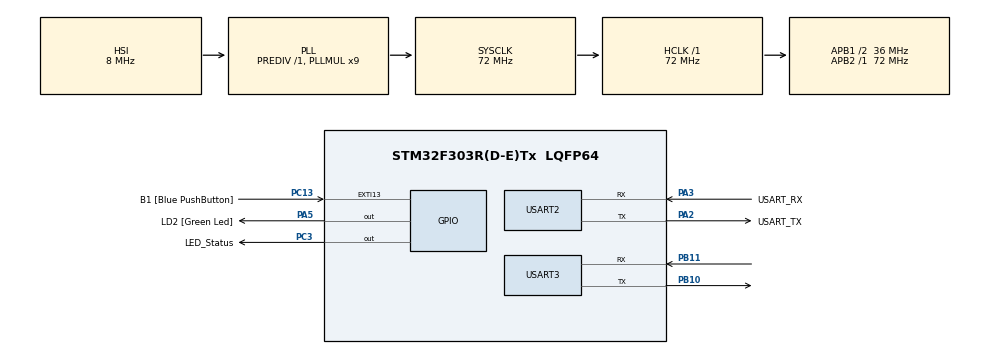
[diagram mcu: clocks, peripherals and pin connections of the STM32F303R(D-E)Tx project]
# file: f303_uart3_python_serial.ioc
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Mcu.Family=STM32F3
PC15-OSC32_OUT.Mode=LSE-External-Oscillator
PA2.GPIO_PuPd=GPIO_NOPULL
RCC.CortexFreq_Value=72000000
PB10.Mode=Asynchronous
PC13.Signal=GPXTI13
PA14.GPIO_Label=TCK
RCC.SYSCLKSourceVirtual=RCC_SYSCLKSOURCE_PLLCLK
PA3.GPIO_PuPd=GPIO_NOPULL
PA2.GPIO_Speed=GPIO_SPEED_FREQ_LOW
PC13.GPIO_Label=B1 [Blue PushButton]
RCC.APB1CLKDivider=RCC_HCLK_DIV2
PC14-OSC32_IN.Signal=RCC_OSC32_IN
PB11.Signal=USART3_RX
PA3.GPIO_Speed=GPIO_SPEED_FREQ_LOW
ProjectManager.StackSize=0x400
USART3.VirtualMode-Asynchronous=VM_ASYNC
PA13.Signal=SYS_JTMS-SWDIO
PA3.Mode=Asynchronous
PB11.Mode=Asynchronous
ProjectManager.TargetToolchain=STM32CubeIDE
PA3.GPIO_Mode=GPIO_MODE_AF_PP
RCC.HCLKFreq_Value=72000000
RCC.APB2TimFreq_Value=72000000
PC3.Signal=GPIO_Output
RCC.USBFreq_Value=72000000
PC15-OSC32_OUT.Signal=RCC_OSC32_OUT
RCC.AHBFreq_Value=72000000
PF0-OSC_IN.Mode=HSE-External-Clock-Source
PB10.Signal=USART3_TX
PA5.Signal=GPIO_Output
RCC.HSE_VALUE=8000000
board=NUCLEO-F303RE
USART2.VirtualMode-Asynchronous=VM_ASYNC
RCC.RCC_PLLsource_Clock_Source_FROM_HSE=RCC_HSE_PREDIV_DIV2
RCC.PLLMUL=RCC_PLL_MUL9
RCC.APB2Freq_Value=72000000
PC14-OSC32_IN.Mode=LSE-External-Oscillator
PA14.Mode=Serial_Wire
PA5.GPIO_PuPd=GPIO_NOPULL
PA13.Mode=Serial_Wire
Mcu.Name=STM32F303R(D-E)Tx
PA2.Signal=USART2_TX
PA13.GPIO_Label=TMS
PB3.Signal=SYS_JTDO-TRACESWO
RCC.SYSCLKFreq_VALUE=72000000
Mcu.Package=LQFP64
PA5.GPIO_Label=LD2 [Green Led]
PC13.GPIO_ModeDefaultEXTI=GPIO_MODE_IT_FALLING
PA2.GPIO_Label=USART_TX
PA14.Signal=SYS_JTCK-SWCLK
ProjectManager.HeapSize=0x200
RCC.HSI_VALUE=8000000
RCC.PLLP=RCC_PLLP_DIV4
PA5.GPIO_Speed=GPIO_SPEED_FREQ_LOW
RCC.PLLQ=7
NVIC.PriorityGroup=NVIC_PRIORITYGROUP_0
RCC.PLLM=8
RCC.PLLN=336
RCC.APB1TimFreq_Value=72000000
PA2.Mode=Asynchronous
PC3.GPIO_Label=LED_Status
PF0-OSC_IN.Signal=RCC_OSC_IN
RCC.APB1Freq_Value=36000000
PA5.GPIO_Mode=GPIO_MODE_OUTPUT_PP
PF1-OSC_OUT.Signal=RCC_OSC_OUT
PA3.GPIO_Label=USART_RX
PA3.Signal=USART2_RX
PA2.GPIO_Mode=GPIO_MODE_AF_PP
PB3.GPIO_Label=SWO

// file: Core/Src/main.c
/* USER CODE BEGIN Header */
/**
  ******************************************************************************
  * @file           : main.c
  * @brief          : Main program body
  ******************************************************************************
  * @attention
  *
  * <h2><center>&copy; Copyright (c) 2021 STMicroelectronics.
  * All rights reserved.</center></h2>
  *
  * This software component is licensed by ST under BSD 3-Clause license,
  * the "License"; You may not use this file except in compliance with the
  * License. You may obtain a copy of the License at:
  *                        opensource.org/licenses/BSD-3-Clause
  *
  ******************************************************************************
  */
/* USER CODE END Header */
#include "main.h"

/* USER CODE BEGIN Includes */
#include <stdio.h>
#include <stdlib.h>
#include <string.h>
/* USER CODE END Includes */

/* USER CODE BEGIN PM */
//#define 	DEBUG_MODE
/* USER CODE END PM */

UART_HandleTypeDef huart2;
UART_HandleTypeDef huart3;

static uint32_t data_raw_pressure;
static int16_t data_raw_temperature;

void SystemClock_Config(void);
static void MX_GPIO_Init(void);
static void MX_USART2_UART_Init(void);
static void MX_USART3_UART_Init(void);
/* USER CODE BEGIN PFP */
void get_pressure(float *pressure);
void get_temperature(float *temperature);
/* USER CODE END PFP */

/* USER CODE BEGIN 0 */

// Transmission buffer
static uint8_t msg[1000];

/* USER CODE END 0 */

int main(void)
{

  /* MCU Configuration--------------------------------------------------------*/

  /* Reset of all peripherals, Initializes the Flash interface and the Systick. */
  HAL_Init();

  /* Configure the system clock */
  SystemClock_Config();

  /* Initialize all configured peripherals */
  MX_GPIO_Init();
  MX_USART2_UART_Init();
  MX_USART3_UART_Init();

  /* Infinite loop */
  /* USER CODE BEGIN WHILE */
  float altitudes[100];
  uint32_t counter = 0;
  while (1)
  {
    /* USER CODE END WHILE */

    /* USER CODE BEGIN 3 */
	  HAL_GPIO_TogglePin(LED_Status_GPIO_Port, LED_Status_Pin);
	  if (counter == sizeof(altitudes) - 1)
	  		  counter = 0;
	  float pressure, temperature;
	  get_pressure(&pressure);
	  get_temperature(&temperature);
//	  altitudes[counter++] = pressure;

	  // debug
	  sprintf((char *)msg, "pressure = %lu\ttemperature = %d\n", (uint32_t) pressure, (int16_t) temperature);
	  HAL_UART_Transmit(&huart2, msg, strlen((char const *)msg), 5000);

	  HAL_Delay(1000);

  }
  /* USER CODE END 3 */
}

void get_pressure(float *pressure) {
	// first need to transmit a '0\n'
	// so that the script knows to send altitude value
	uint8_t startMessage[] = "0\n";

	#ifdef DEBUG_MODE
	  sprintf((char *)msg, "---------- ENTERED get_pressure ----------\nstartMessage = \n");
	  HAL_UART_Transmit(&huart3, msg, strlen((char const *)msg), 100);
	#endif

	uint32_t timeout = 1000;
	HAL_UART_Transmit(&huart3, startMessage, sizeof(startMessage), timeout);

	// now receive input from script
	uint16_t max_loop_count = 10;
	uint16_t loop_count = 0;

	uint8_t rxBuf[10]; // buffer of 10 chars
	uint8_t rxCurrent; // current receive char
	uint8_t rxIndex = 0;

	int done = 0;
	while (loop_count < max_loop_count && !done) {
		HAL_UART_Receive(&huart3, (uint8_t*) &rxCurrent, 1, timeout);
		if (rxCurrent != '\n' && rxIndex < sizeof(rxBuf)) {
			rxBuf[rxIndex++] = rxCurrent;
		} else {
			// convert to uint32_t as data_raw_pressure
			data_raw_pressure = (uint32_t) (atoi((char *) rxBuf));
			*pressure = (float) data_raw_pressure;
			memset(rxBuf, 0, sizeof(rxBuf));
			done = 1;
		}
		__HAL_UART_CLEAR_FLAG(&huart3, UART_CLEAR_OREF | UART_CLEAR_NEF | UART_CLEAR_PEF | UART_CLEAR_FEF);
		loop_count++;
	}
#ifdef DEBUG_MODE
	sprintf((char *)msg, "in pressure = %lu\n", (uint32_t) data_raw_pressure);
	HAL_UART_Transmit(&huart2, msg, strlen((char const *)msg), 5000);
#endif
}

/*
 * This function is almost identical to get_pressure but it is implemented
 * separately to emulate FC V2 code as closely as possible.
 *
 * The only changes are to the start message (use 1 instead of 0) and the
 * variable that the result gets stored to.
 */
void get_temperature(float *temperature) {
	// first need to transmit a '1\n'
	// so that the script knows to send a temperature value
	uint8_t startMessage[] = "1\n";

	#ifdef DEBUG_MODE
	  sprintf((char *)msg, "---------- ENTERED get_temperature ----------\nstartMessage = \n");
	  HAL_UART_Transmit(&huart3, msg, strlen((char const *)msg), 100);
	#endif

	uint32_t timeout = 1000;
	HAL_UART_Transmit(&huart3, startMessage, sizeof(startMessage), timeout);

	// now receive input from script
	uint16_t max_loop_count = 10;
	uint16_t loop_count = 0;

	uint8_t rxBuf[10]; // buffer of 10 chars
	uint8_t rxCurrent; // current receive char
	uint8_t rxIndex = 0;

	int done = 0;
	while (loop_count < max_loop_count && !done) {
		HAL_UART_Receive(&huart3, (uint8_t*) &rxCurrent, 1, timeout);
		if (rxCurrent != '\n' && rxIndex < sizeof(rxBuf)) {
			rxBuf[rxIndex++] = rxCurrent;
		} else {
			// convert to uint32_t as data_raw_pressure
			data_raw_temperature = (int16_t) (atoi((char *) rxBuf));
			//*temperature = lps22hh_from_lsb_to_celsius(data_raw_temperature);
//			*temperature = (float) (data_raw_temperature / 100.0f);
			*temperature = (float) data_raw_temperature;
			memset(rxBuf, 0, sizeof(rxBuf));
			done = 1;
		}
		__HAL_UART_CLEAR_FLAG(&huart3, UART_CLEAR_OREF | UART_CLEAR_NEF | UART_CLEAR_PEF | UART_CLEAR_FEF);
		loop_count++;
	}
#ifdef DEBUG_MODE
	sprintf((char *)msg, "in temperature = %d\n", (int16_t) data_raw_pressure);
	HAL_UART_Transmit(&huart2, msg, strlen((char const *)msg), 5000);
#endif
}

void SystemClock_Config(void)
{
  RCC_OscInitTypeDef RCC_OscInitStruct = {0};
  RCC_ClkInitTypeDef RCC_ClkInitStruct = {0};
  RCC_PeriphCLKInitTypeDef PeriphClkInit = {0};

  /** Initializes the RCC Oscillators according to the specified parameters
  * in the RCC_OscInitTypeDef structure.
  */
  RCC_OscInitStruct.OscillatorType = RCC_OSCILLATORTYPE_HSI;
  RCC_OscInitStruct.HSIState = RCC_HSI_ON;
  RCC_OscInitStruct.HSICalibrationValue = RCC_HSICALIBRATION_DEFAULT;
  RCC_OscInitStruct.PLL.PLLState = RCC_PLL_ON;
  RCC_OscInitStruct.PLL.PLLSource = RCC_PLLSOURCE_HSI;
  RCC_OscInitStruct.PLL.PLLMUL = RCC_PLL_MUL9;
  RCC_OscInitStruct.PLL.PREDIV = RCC_PREDIV_DIV1;
  if (HAL_RCC_OscConfig(&RCC_OscInitStruct) != HAL_OK)
  {
    Error_Handler();
  }
  /** Initializes the CPU, AHB and APB buses clocks
  */
  RCC_ClkInitStruct.ClockType = RCC_CLOCKTYPE_HCLK|RCC_CLOCKTYPE_SYSCLK
                              |RCC_CLOCKTYPE_PCLK1|RCC_CLOCKTYPE_PCLK2;
  RCC_ClkInitStruct.SYSCLKSource = RCC_SYSCLKSOURCE_PLLCLK;
  RCC_ClkInitStruct.AHBCLKDivider = RCC_SYSCLK_DIV1;
  RCC_ClkInitStruct.APB1CLKDivider = RCC_HCLK_DIV2;
  RCC_ClkInitStruct.APB2CLKDivider = RCC_HCLK_DIV1;

  if (HAL_RCC_ClockConfig(&RCC_ClkInitStruct, FLASH_LATENCY_2) != HAL_OK)
  {
    Error_Handler();
  }
  PeriphClkInit.PeriphClockSelection = RCC_PERIPHCLK_USART2|RCC_PERIPHCLK_USART3;
  PeriphClkInit.Usart2ClockSelection = RCC_USART2CLKSOURCE_PCLK1;
  PeriphClkInit.Usart3ClockSelection = RCC_USART3CLKSOURCE_PCLK1;
  if (HAL_RCCEx_PeriphCLKConfig(&PeriphClkInit) != HAL_OK)
  {
    Error_Handler();
  }
}

static void MX_USART2_UART_Init(void)
{

  huart2.Instance = USART2;
  huart2.Init.BaudRate = 38400;
  huart2.Init.WordLength = UART_WORDLENGTH_8B;
  huart2.Init.StopBits = UART_STOPBITS_1;
  huart2.Init.Parity = UART_PARITY_NONE;
  huart2.Init.Mode = UART_MODE_TX_RX;
  huart2.Init.HwFlowCtl = UART_HWCONTROL_NONE;
  huart2.Init.OverSampling = UART_OVERSAMPLING_16;
  huart2.Init.OneBitSampling = UART_ONE_BIT_SAMPLE_DISABLE;
  huart2.AdvancedInit.AdvFeatureInit = UART_ADVFEATURE_NO_INIT;
  if (HAL_UART_Init(&huart2) != HAL_OK)
  {
    Error_Handler();
  }

}

static void MX_USART3_UART_Init(void)
{

  huart3.Instance = USART3;
  huart3.Init.BaudRate = 38400;
  huart3.Init.WordLength = UART_WORDLENGTH_8B;
  huart3.Init.StopBits = UART_STOPBITS_1;
  huart3.Init.Parity = UART_PARITY_NONE;
  huart3.Init.Mode = UART_MODE_TX_RX;
  huart3.Init.HwFlowCtl = UART_HWCONTROL_NONE;
  huart3.Init.OverSampling = UART_OVERSAMPLING_16;
  huart3.Init.OneBitSampling = UART_ONE_BIT_SAMPLE_DISABLE;
  huart3.AdvancedInit.AdvFeatureInit = UART_ADVFEATURE_NO_INIT;
  if (HAL_UART_Init(&huart3) != HAL_OK)
  {
    Error_Handler();
  }

}

static void MX_GPIO_Init(void)
{
  GPIO_InitTypeDef GPIO_InitStruct = {0};

  /* GPIO Ports Clock Enable */
  __HAL_RCC_GPIOC_CLK_ENABLE();
  __HAL_RCC_GPIOF_CLK_ENABLE();
  __HAL_RCC_GPIOA_CLK_ENABLE();
  __HAL_RCC_GPIOB_CLK_ENABLE();

  /*Configure GPIO pin Output Level */
  HAL_GPIO_WritePin(LED_Status_GPIO_Port, LED_Status_Pin, GPIO_PIN_RESET);

  /*Configure GPIO pin Output Level */
  HAL_GPIO_WritePin(LD2_GPIO_Port, LD2_Pin, GPIO_PIN_RESET);

  /*Configure GPIO pin : B1_Pin */
  GPIO_InitStruct.Pin = B1_Pin;
  GPIO_InitStruct.Mode = GPIO_MODE_IT_FALLING;
  GPIO_InitStruct.Pull = GPIO_NOPULL;
  HAL_GPIO_Init(B1_GPIO_Port, &GPIO_InitStruct);

  /*Configure GPIO pin : LED_Status_Pin */
  GPIO_InitStruct.Pin = LED_Status_Pin;
  GPIO_InitStruct.Mode = GPIO_MODE_OUTPUT_PP;
  GPIO_InitStruct.Pull = GPIO_NOPULL;
  GPIO_InitStruct.Speed = GPIO_SPEED_FREQ_LOW;
  HAL_GPIO_Init(LED_Status_GPIO_Port, &GPIO_InitStruct);

  /*Configure GPIO pin : LD2_Pin */
  GPIO_InitStruct.Pin = LD2_Pin;
  GPIO_InitStruct.Mode = GPIO_MODE_OUTPUT_PP;
  GPIO_InitStruct.Pull = GPIO_NOPULL;
  GPIO_InitStruct.Speed = GPIO_SPEED_FREQ_LOW;
  HAL_GPIO_Init(LD2_GPIO_Port, &GPIO_InitStruct);

}

void Error_Handler(void)
{
  __disable_irq();
  while (1)
  {
  }
}

/************************ (C) COPYRIGHT STMicroelectronics *****END OF FILE****/
